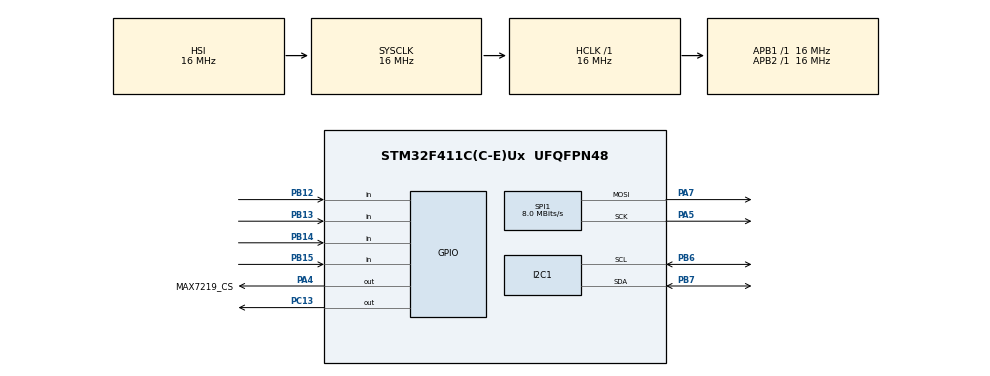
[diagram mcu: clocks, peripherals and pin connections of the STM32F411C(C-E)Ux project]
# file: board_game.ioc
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I2C1.I2C_Mode=I2C_Fast
Mcu.Family=STM32F4
Mcu.Name=STM32F411C(C-E)Ux
Mcu.Package=UFQFPN48
NVIC.PriorityGroup=NVIC_PRIORITYGROUP_4
PA4.GPIO_Label=MAX7219_CS
PA4.PinState=GPIO_PIN_SET
PA4.Signal=GPIO_Output
PA5.Mode=TX_Only_Simplex_Unidirect_Master
PA5.Signal=SPI1_SCK
PA7.Mode=TX_Only_Simplex_Unidirect_Master
PA7.Signal=SPI1_MOSI
PB12.GPIO_PuPd=GPIO_PULLUP
PB12.Signal=GPIO_Input
PB13.GPIO_PuPd=GPIO_PULLUP
PB13.Signal=GPIO_Input
PB14.GPIO_PuPd=GPIO_PULLUP
PB14.Signal=GPIO_Input
PB15.GPIO_PuPd=GPIO_PULLUP
PB15.Signal=GPIO_Input
PB6.Mode=I2C
PB6.Signal=I2C1_SCL
PB7.Mode=I2C
PB7.Signal=I2C1_SDA
PC13-ANTI_TAMP.Signal=GPIO_Output
ProjectManager.HeapSize=0x200
ProjectManager.StackSize=0x400
ProjectManager.TargetToolchain=CMake
RCC.AHBFreq_Value=16000000
RCC.APB1Freq_Value=16000000
RCC.APB2Freq_Value=16000000
RCC.CortexFreq_Value=16000000
RCC.HSE_VALUE=25000000
RCC.HSI_VALUE=16000000
RCC.LSE_VALUE=32768
RCC.SYSCLKFreq_VALUE=16000000
RCC.VCOOutputFreq_Value=192000000
SPI1.CalculateBaudRate=8.0 MBits/s
SPI1.Direction=SPI_DIRECTION_2LINES
SPI1.Mode=SPI_MODE_MASTER
SPI1.VirtualType=VM_MASTER
board=custom

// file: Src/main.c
/* USER CODE BEGIN Header */
/**
  ******************************************************************************
  * @file           : main.c
  * @brief          : Main program body
  ******************************************************************************
  * @attention
  *
  * Copyright (c) 2026 STMicroelectronics.
  * All rights reserved.
  *
  * This software is licensed under terms that can be found in the LICENSE file
  * in the root directory of this software component.
  * If no LICENSE file comes with this software, it is provided AS-IS.
  *
  ******************************************************************************
  */
/* USER CODE END Header */
#include "main.h"

/* USER CODE BEGIN Includes */
#include "max7219.h"
#include "mpu6050.h"
#include <math.h>
/* USER CODE END Includes */

/* USER CODE BEGIN PTD */
typedef struct {
    float x, y;   // непрерывная позиция
    float vx, vy; // скорость
} Player;
/* USER CODE END PTD */

/* USER CODE BEGIN PD */
#define CANVAS_ROWS     8
#define CANVAS_COLS     32
#define PLAYER_MIN_X    1
#define PLAYER_MAX_X    (CANVAS_COLS - 2)
#define PLAYER_MIN_Y    1
#define PLAYER_MAX_Y    (CANVAS_ROWS - 2)

#define IMU_DEADZONE    0.02f   // меньше дедзона — чувствительнее
#define ACCEL_X_OFFSET  0.01f
#define ACCEL_Y_OFFSET -0.03f
#define ACCEL_Z_OFFSET  0.24f

#define GRAVITY_SCALE   0.03f
#define FRICTION        0.85f   // применяется только в покое — можно сделать жёстче
#define MAX_VELOCITY    8.0f    // теперь шарик реально разгоняется до этого
#define BOUNCE          0.60f
#define BOUNCE_MIN_V    0.5f

#define TICK_MS         15      // период обновления физики, мс
/* USER CODE END PD */

I2C_HandleTypeDef hi2c1;

SPI_HandleTypeDef hspi1;

/* USER CODE BEGIN PV */
MPU6050_Data   imu;
MPU6050_Status imu_status;

MAX7219_Handle_t display = {
    .hspi    = &hspi1,
    .cs_port = GPIOA,
    .cs_pin  = GPIO_PIN_4,
    .count   = 4,
};

static uint8_t canvas[CANVAS_ROWS][CANVAS_COLS];
static uint32_t last_tick = 0;
static Player  player;

static uint32_t rng_state = 12345;
static uint8_t  food_x, food_y;
/* USER CODE END PV */

void SystemClock_Config(void);
static void MX_GPIO_Init(void);
static void MX_SPI1_Init(void);
static void MX_I2C1_Init(void);

/* USER CODE BEGIN 0 */

/* Переинициализация I2C + IMU после ошибки шины */
static void IMU_Reinit(void)
{
    HAL_I2C_DeInit(&hi2c1);
    HAL_Delay(10);          // дать шине осесть
    HAL_I2C_Init(&hi2c1);
    imu_status = MPU6050_Init(&hi2c1);
}

static float clampf(float v, float lo, float hi) {
    if (v < lo) return lo;
    if (v > hi) return hi;
    return v;
}

static uint32_t rng_next(void)
{
    rng_state ^= HAL_GetTick();          // энтропия от таймера
    rng_state ^= (rng_state << 13);
    rng_state ^= (rng_state >> 17);
    rng_state ^= (rng_state << 5);
    return rng_state;
}

static void Food_Spawn(void)
{
    // Генерируем позицию внутри поля (не на стенках)
    do {
        food_x = (rng_next() % (CANVAS_COLS - 2)) + 1;
        food_y = (rng_next() % (CANVAS_ROWS - 2)) + 1;
    } while (food_x == (uint8_t)(player.x + 0.5f) &&
             food_y == (uint8_t)(player.y + 0.5f));  // не спавним на игроке

    canvas[food_y][food_x] = 1;
    MAX7219_DrawMatrix(&display, canvas);
}

static void Physics_Update(float ax, float ay)
{
    float gx = (fabsf(ax) > IMU_DEADZONE) ? (ax - ACCEL_X_OFFSET) : 0.0f;
    float gy = (fabsf(ay) > IMU_DEADZONE) ? (ay - ACCEL_Y_OFFSET) : 0.0f;

    // Накапливаем скорость
    player.vx += gx * GRAVITY_SCALE;
    player.vy += gy * GRAVITY_SCALE;

    // Трение только когда нет ускорения (иначе шарик разгоняется свободно)
    if (fabsf(gx) < IMU_DEADZONE) player.vx *= FRICTION;
    if (fabsf(gy) < IMU_DEADZONE) player.vy *= FRICTION;

    // Ограничиваем максимальную скорость
    player.vx = clampf(player.vx, -MAX_VELOCITY, MAX_VELOCITY);
    player.vy = clampf(player.vy, -MAX_VELOCITY, MAX_VELOCITY);

    // Новая позиция
    float nx = player.x + player.vx;
    float ny = player.y + player.vy;

    // Отскок от стенок
    if (nx < PLAYER_MIN_X) {
        nx = PLAYER_MIN_X;
        player.vx = fabsf(player.vx) * BOUNCE;
    }
    if (nx > PLAYER_MAX_X) {
        nx = PLAYER_MAX_X;
        player.vx = -(fabsf(player.vx) * BOUNCE);
    }
    if (ny < PLAYER_MIN_Y) {
        ny = PLAYER_MIN_Y;
        player.vy = fabsf(player.vy) * BOUNCE;
    }
    if (ny > PLAYER_MAX_Y) {
        ny = PLAYER_MAX_Y;
        player.vy = -(fabsf(player.vy) * BOUNCE);
    }

    // Обновляем canvas только если пиксель реально сдвинулся
    uint8_t px = (uint8_t)(nx + 0.5f);
    uint8_t py = (uint8_t)(ny + 0.5f);

    if (px != (uint8_t)(player.x + 0.5f) || py != (uint8_t)(player.y + 0.5f))
    {
        canvas[(uint8_t)(player.y + 0.5f)][(uint8_t)(player.x + 0.5f)] = 0;
        canvas[py][px] = 1;
        MAX7219_DrawMatrix(&display, canvas);
    }

    player.x = nx;
    player.y = ny;

    // Проверка съедения еды
    uint8_t px_cur = (uint8_t)(player.x + 0.5f);
    uint8_t py_cur = (uint8_t)(player.y + 0.5f);

    if (px_cur == food_x && py_cur == food_y)
        Food_Spawn();
}

/* USER CODE END 0 */

int main(void)
{

  /* MCU Configuration--------------------------------------------------------*/

  /* Reset of all peripherals, Initializes the Flash interface and the Systick. */
  HAL_Init();

  /* Configure the system clock */
  SystemClock_Config();

  /* Initialize all configured peripherals */
  MX_GPIO_Init();
  MX_SPI1_Init();
  MX_I2C1_Init();
  /* USER CODE BEGIN 2 */
  MAX7219_Init(&display);
  MAX7219_SetBrightness(&display, 0);

  /* Нарисовать борты */
  for (uint8_t y = 0; y < CANVAS_ROWS; y++) {
      canvas[y][0]             = 1;
      canvas[y][CANVAS_COLS-1] = 1;
  }
  for (uint8_t x = 0; x < CANVAS_COLS; x++) {
      canvas[0][x]             = 1;
      canvas[CANVAS_ROWS-1][x] = 1;
  }

  /* Начальная позиция игрока */
  player.x  = CANVAS_COLS / 2;
  player.y  = CANVAS_ROWS / 2;
  player.vx = 0;
  player.vy = 0;
  canvas[(uint8_t)player.y][(uint8_t)player.x] = 1;
  Food_Spawn();
  MAX7219_DrawMatrix(&display, canvas);

  imu_status = MPU6050_Init(&hi2c1);
  /* USER CODE END 2 */

  /* Infinite loop */
  /* USER CODE BEGIN WHILE */
  while (1)
  {
    // Неблокирующий таймер вместо HAL_Delay
    if (HAL_GetTick() - last_tick < TICK_MS)
      continue;
    last_tick = HAL_GetTick();

    if (imu_status == MPU6050_OK) {
      if (HAL_I2C_GetState(&hi2c1) == HAL_I2C_STATE_READY)
      imu_status = MPU6050_ReadAll(&hi2c1, &imu);
    }

    if (imu_status == MPU6050_OK)
      Physics_Update(-imu.accel.x, -imu.accel.y);
    else
      IMU_Reinit();
    /* USER CODE END WHILE */

  }
}

void SystemClock_Config(void)
{
  RCC_OscInitTypeDef RCC_OscInitStruct = {0};
  RCC_ClkInitTypeDef RCC_ClkInitStruct = {0};

  /** Configure the main internal regulator output voltage
  */
  __HAL_RCC_PWR_CLK_ENABLE();
  __HAL_PWR_VOLTAGESCALING_CONFIG(PWR_REGULATOR_VOLTAGE_SCALE1);

  /** Initializes the RCC Oscillators according to the specified parameters
  * in the RCC_OscInitTypeDef structure.
  */
  RCC_OscInitStruct.OscillatorType = RCC_OSCILLATORTYPE_HSI;
  RCC_OscInitStruct.HSIState = RCC_HSI_ON;
  RCC_OscInitStruct.HSICalibrationValue = RCC_HSICALIBRATION_DEFAULT;
  RCC_OscInitStruct.PLL.PLLState = RCC_PLL_NONE;
  if (HAL_RCC_OscConfig(&RCC_OscInitStruct) != HAL_OK)
  {
    Error_Handler();
  }

  /** Initializes the CPU, AHB and APB buses clocks
  */
  RCC_ClkInitStruct.ClockType = RCC_CLOCKTYPE_HCLK|RCC_CLOCKTYPE_SYSCLK
                              |RCC_CLOCKTYPE_PCLK1|RCC_CLOCKTYPE_PCLK2;
  RCC_ClkInitStruct.SYSCLKSource = RCC_SYSCLKSOURCE_HSI;
  RCC_ClkInitStruct.AHBCLKDivider = RCC_SYSCLK_DIV1;
  RCC_ClkInitStruct.APB1CLKDivider = RCC_HCLK_DIV1;
  RCC_ClkInitStruct.APB2CLKDivider = RCC_HCLK_DIV1;

  if (HAL_RCC_ClockConfig(&RCC_ClkInitStruct, FLASH_LATENCY_0) != HAL_OK)
  {
    Error_Handler();
  }
}

static void MX_I2C1_Init(void)
{

  hi2c1.Instance = I2C1;
  hi2c1.Init.ClockSpeed = 400000;
  hi2c1.Init.DutyCycle = I2C_DUTYCYCLE_2;
  hi2c1.Init.OwnAddress1 = 0;
  hi2c1.Init.AddressingMode = I2C_ADDRESSINGMODE_7BIT;
  hi2c1.Init.DualAddressMode = I2C_DUALADDRESS_DISABLE;
  hi2c1.Init.OwnAddress2 = 0;
  hi2c1.Init.GeneralCallMode = I2C_GENERALCALL_DISABLE;
  hi2c1.Init.NoStretchMode = I2C_NOSTRETCH_DISABLE;
  if (HAL_I2C_Init(&hi2c1) != HAL_OK)
  {
    Error_Handler();
  }

}

static void MX_SPI1_Init(void)
{

  /* SPI1 parameter configuration*/
  hspi1.Instance = SPI1;
  hspi1.Init.Mode = SPI_MODE_MASTER;
  hspi1.Init.Direction = SPI_DIRECTION_2LINES;
  hspi1.Init.DataSize = SPI_DATASIZE_8BIT;
  hspi1.Init.CLKPolarity = SPI_POLARITY_LOW;
  hspi1.Init.CLKPhase = SPI_PHASE_1EDGE;
  hspi1.Init.NSS = SPI_NSS_SOFT;
  hspi1.Init.BaudRatePrescaler = SPI_BAUDRATEPRESCALER_2;
  hspi1.Init.FirstBit = SPI_FIRSTBIT_MSB;
  hspi1.Init.TIMode = SPI_TIMODE_DISABLE;
  hspi1.Init.CRCCalculation = SPI_CRCCALCULATION_DISABLE;
  hspi1.Init.CRCPolynomial = 10;
  if (HAL_SPI_Init(&hspi1) != HAL_OK)
  {
    Error_Handler();
  }

}

static void MX_GPIO_Init(void)
{
  GPIO_InitTypeDef GPIO_InitStruct = {0};

  /* GPIO Ports Clock Enable */
  __HAL_RCC_GPIOC_CLK_ENABLE();
  __HAL_RCC_GPIOA_CLK_ENABLE();
  __HAL_RCC_GPIOB_CLK_ENABLE();

  /*Configure GPIO pin Output Level */
  HAL_GPIO_WritePin(GPIOC, GPIO_PIN_13, GPIO_PIN_RESET);

  /*Configure GPIO pin Output Level */
  HAL_GPIO_WritePin(MAX7219_CS_GPIO_Port, MAX7219_CS_Pin, GPIO_PIN_SET);

  /*Configure GPIO pin : PC13 */
  GPIO_InitStruct.Pin = GPIO_PIN_13;
  GPIO_InitStruct.Mode = GPIO_MODE_OUTPUT_PP;
  GPIO_InitStruct.Pull = GPIO_NOPULL;
  GPIO_InitStruct.Speed = GPIO_SPEED_FREQ_LOW;
  HAL_GPIO_Init(GPIOC, &GPIO_InitStruct);

  /*Configure GPIO pin : MAX7219_CS_Pin */
  GPIO_InitStruct.Pin = MAX7219_CS_Pin;
  GPIO_InitStruct.Mode = GPIO_MODE_OUTPUT_PP;
  GPIO_InitStruct.Pull = GPIO_NOPULL;
  GPIO_InitStruct.Speed = GPIO_SPEED_FREQ_LOW;
  HAL_GPIO_Init(MAX7219_CS_GPIO_Port, &GPIO_InitStruct);

  /*Configure GPIO pins : PB12 PB13 PB14 PB15 */
  GPIO_InitStruct.Pin = GPIO_PIN_12|GPIO_PIN_13|GPIO_PIN_14|GPIO_PIN_15;
  GPIO_InitStruct.Mode = GPIO_MODE_INPUT;
  GPIO_InitStruct.Pull = GPIO_PULLUP;
  HAL_GPIO_Init(GPIOB, &GPIO_InitStruct);

}

void Error_Handler(void)
{
  __disable_irq();
  while (1)
  {
  }
}
